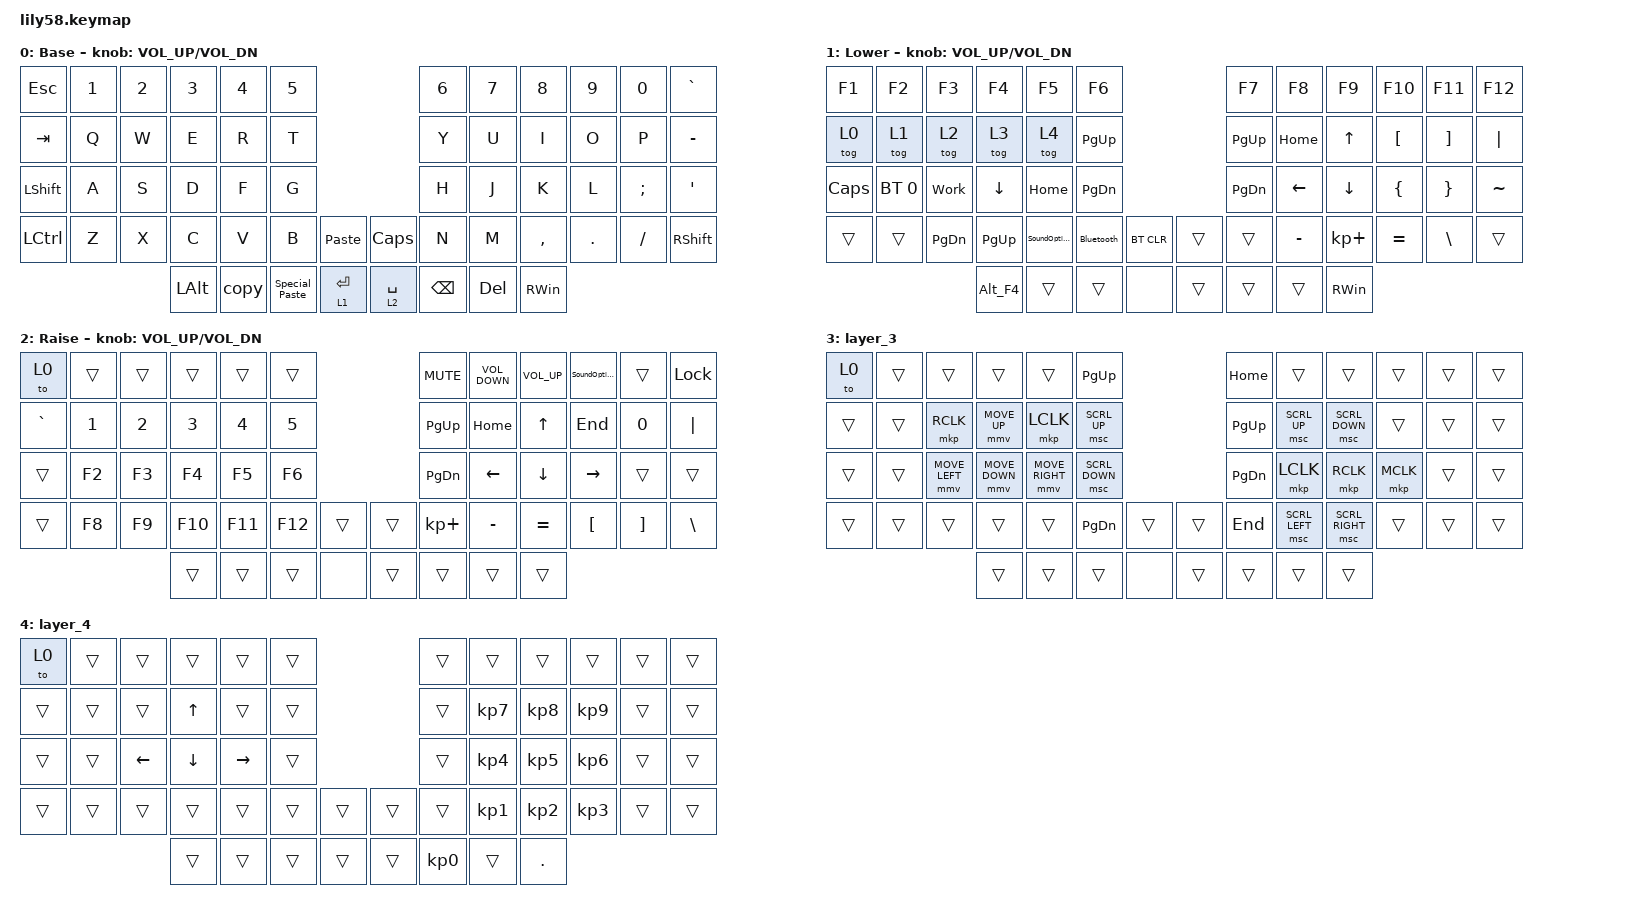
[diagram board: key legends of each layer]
/*
 * Copyright (c) 2020 The ZMK Contributors
 *
 * SPDX-License-Identifier: MIT
 */

#define ZMK_POINTING_DEFAULT_MOVE_VAL 1500  // default: 600
#define ZMK_POINTING_DEFAULT_SCRL_VAL 20    // default: 10

#include <behaviors.dtsi>
#include <dt-bindings/zmk/bt.h>
#include <dt-bindings/zmk/keys.h>
#include <dt-bindings/zmk/pointing.h>

/ {
    macros {
        copy: copy {
            compatible = "zmk,behavior-macro";
            #binding-cells = <0>;
            bindings = <&kp LC(C)>;
            label = "COPY";
        };

        Special_Paste: Special_Paste {
            compatible = "zmk,behavior-macro";
            #binding-cells = <0>;
            bindings = <&kp LS(LC(V))>;
            label = "SPECIAL_PASTE";
        };

        Paste: Paste {
            compatible = "zmk,behavior-macro";
            #binding-cells = <0>;
            bindings = <&kp LC(V)>;
            label = "PASTE";
        };

        Lock: Lock {
            compatible = "zmk,behavior-macro";
            #binding-cells = <0>;
            bindings = <&kp NUMBER_0 &kp NUMBER_5 &kp NUMBER_8 &kp NUMBER_9>;
            label = "LOCK";
        };

        SoundOption: SoundOption {
            compatible = "zmk,behavior-macro";
            #binding-cells = <0>;
            bindings =
                <&macro_press>,
                <&kp LEFT_WIN &kp LCTRL>,
                <&macro_tap>,
                <&kp V>,
                <&macro_release>,
                <&kp LEFT_WIN &kp LCTRL>;

            label = "SOUNDOPTION";
        };

        Work: Work {
            compatible = "zmk,behavior-macro";
            #binding-cells = <0>;
            bindings =
                <&macro_press>,
                <&kp LWIN &kp LCTRL>,
                <&macro_tap>,
                <&kp LEFT>,
                <&macro_release>,
                <&kp LEFT_WIN &kp LCTRL>;

            label = "WORK";
        };

        Home: Home {
            compatible = "zmk,behavior-macro";
            #binding-cells = <0>;
            bindings =
                <&macro_press>,
                <&kp LWIN &kp LCTRL>,
                <&macro_tap>,
                <&kp RIGHT>,
                <&macro_release>,
                <&kp LWIN &kp LCTRL>;

            label = "HOME";
        };

        Alt_F4: Alt_F4 {
            compatible = "zmk,behavior-macro";
            #binding-cells = <0>;
            bindings = <&kp LA(F4)>;
            label = "ALT_F4";
        };

        Bluetooth: Bluetooth {
            compatible = "zmk,behavior-macro";
            #binding-cells = <0>;
            bindings =
                <&macro_press>,
                <&kp LEFT_WIN>,
                <&macro_tap>,
                <&kp K>,
                <&macro_release>,
                <&kp LEFT_WIN>;

            label = "BLUETOOTH";
        };
    };

    behaviors {
        space_2: space_2 {
            compatible = "zmk,behavior-hold-tap";
            label = "SPACE_2";
            bindings = <&mo>, <&kp>;

            #binding-cells = <2>;
            tapping-term-ms = <200>;
            flavor = "hold-preferred";
        };

        enter_1: enter_1 {
            compatible = "zmk,behavior-hold-tap";
            label = "ENTER_1";
            bindings = <&mo>, <&kp>;

            #binding-cells = <2>;
            tapping-term-ms = <200>;
            flavor = "hold-preferred";
        };
    };

    keymap {
        compatible = "zmk,keymap";

        default_layer {
            // ------------------------------------------------------------------------------------------------------------
            // |  ESC  |  1  |  2  |  3   |  4   |  5   |                   |  6   |  7    |  8    |  9   |   0   |   `   |
            // |  TAB  |  Q  |  W  |  E   |  R   |  T   |                   |  Y   |  U    |  I    |  O   |   P   |   -   |
            // |  CTRL |  A  |  S  |  D   |  F   |  G   |                   |  H   |  J    |  K    |  L   |   ;   |   '   |
            // | SHIFT |  Z  |  X  |  C   |  V   |  B   |   "["  |  |  "]"  |  N   |  M    |  ,    |  .   |   /   | SHIFT |
            //                     | ALT  | GUI  | LOWER|  SPACE |  | ENTER | RAISE| BSPC  | GUI   |

            display-name = "Base";
            bindings = <
&kp ESC         &kp N1  &kp N2  &kp N3    &kp N4  &kp N5                                      &kp N6         &kp N7   &kp N8         &kp N9   &kp N0    &kp GRAVE
&kp TAB         &kp Q   &kp W   &kp E     &kp R   &kp T                                       &kp Y          &kp U    &kp I          &kp O    &kp P     &kp MINUS
&kp LEFT_SHIFT  &kp A   &kp S   &kp D     &kp F   &kp G                                       &kp H          &kp J    &kp K          &kp L    &kp SEMI  &kp SQT
&kp LCTRL       &kp Z   &kp X   &kp C     &kp V   &kp B           &Paste         &kp CAPS     &kp N          &kp M    &kp COMMA      &kp DOT  &kp FSLH  &kp RSHFT
                                &kp LALT  &copy   &Special_Paste  &lt 1 ENTER    &lt 2 SPACE  &kp BACKSPACE  &kp DEL  &kp RIGHT_WIN
            >;

            sensor-bindings = <&inc_dec_kp C_VOL_UP C_VOL_DN>;
        };

        lower_layer {
            // ------------------------------------------------------------------------------------------------------------
            // | BTCLR | BT1 | BT2 |  BT3 |  BT4 |  BT5 |                   |      |       |       |      |       |       |
            // |  F1   |  F2 |  F3 |  F4  |  F5  |  F6  |                   |  F7  |  F8   |  F9   |  F10 |  F11  |  F12  |
            // |   `   |  !  |  @  |  #   |  $   |  %   |                   |  ^   |  &    |  *    |  (   |   )   |   ~   |
            // |       |     |     |      |      |      |        |  |       |      |  _    |  +    |  {   |   }   |  "|"  |
            //                     |      |      |      |        |  |       |      |       |       |

            display-name = "Lower";
            bindings = <
&kp F1    &kp F2        &kp F3         &kp F4       &kp F5        &kp F6                               &kp F7         &kp F8     &kp F9         &kp F10           &kp F11            &kp F12
&tog 0    &tog 1        &tog 2         &tog 3       &tog 4        &kp PAGE_UP                          &kp PAGE_UP    &kp HOME   &kp UP         &kp LEFT_BRACKET  &kp RIGHT_BRACKET  &kp PIPE
&kp CAPS  &bt BT_SEL 0  &Work          &kp DOWN     &Home         &kp PAGE_DOWN                        &kp PAGE_DOWN  &kp LEFT   &kp DOWN       &kp LEFT_BRACE    &kp RIGHT_BRACE    &kp TILDE
&trans    &trans        &kp PAGE_DOWN  &kp PAGE_UP  &SoundOption  &Bluetooth     &bt BT_CLR    &trans  &trans         &kp MINUS  &kp KP_PLUS    &kp EQUAL         &kp BACKSLASH      &trans
                                       &Alt_F4      &trans        &trans         &none         &trans  &trans         &trans     &kp RIGHT_WIN
            >;

            sensor-bindings = <&inc_dec_kp C_VOL_UP C_VOL_DN>;
        };

        raise_layer {
            // ------------------------------------------------------------------------------------------------------------
            // |       |     |     |      |      |      |                   |      |       |       |      |       |       |
            // |   `   |  1  |  2  |  3   |  4   |  5   |                   |  6   |   7   |   8   |  9   |   0   |       |
            // |   F1  |  F2 |  F3 |  F4  |  F5  |  F6  |                   |      |   <-  |   v   |  ^   |  ->   |       |
            // |   F7  |  F8 |  F9 |  F10 |  F11 |  F12 |        |  |       |  +   |   -   |   =   |  [   |   ]   |   \   |
            //                     |      |      |      |        |  |       |      |       |       |

            display-name = "Raise";
            bindings = <
&to 0      &trans  &trans  &trans   &trans   &trans                     &kp C_MUTE     &kp C_VOLUME_DOWN  &kp C_VOLUME_UP  &SoundOption  &trans    &Lock
&kp GRAVE  &kp N1  &kp N2  &kp N3   &kp N4   &kp N5                     &kp PG_UP      &kp HOME           &kp UP           &kp END       &kp N0    &kp PIPE
&trans     &kp F2  &kp F3  &kp F4   &kp F5   &kp F6                     &kp PAGE_DOWN  &kp LEFT           &kp DOWN         &kp RIGHT     &trans    &trans
&trans     &kp F8  &kp F9  &kp F10  &kp F11  &kp F12  &trans    &trans  &kp KP_PLUS    &kp MINUS          &kp EQUAL        &kp LBKT      &kp RBKT  &kp BSLH
                           &trans   &trans   &trans   &none     &trans  &trans         &trans             &trans
            >;

            sensor-bindings = <&inc_dec_kp C_VOL_UP C_VOL_DN>;
        };

        layer_3 {
            bindings = <
&to 0   &trans  &trans          &trans          &trans           &kp PAGE_UP                       &kp HOME       &trans          &trans           &trans     &trans  &trans
&trans  &trans  &mkp RCLK       &mmv MOVE_UP    &mkp LCLK        &msc SCRL_UP                      &kp PAGE_UP    &msc SCRL_UP    &msc SCRL_DOWN   &trans     &trans  &trans
&trans  &trans  &mmv MOVE_LEFT  &mmv MOVE_DOWN  &mmv MOVE_RIGHT  &msc SCRL_DOWN                    &kp PAGE_DOWN  &mkp LCLK       &mkp RCLK        &mkp MCLK  &trans  &trans
&trans  &trans  &trans          &trans          &trans           &kp PAGE_DOWN   &trans    &trans  &kp END        &msc SCRL_LEFT  &msc SCRL_RIGHT  &trans     &trans  &trans
                                &trans          &trans           &trans          &none     &trans  &trans         &trans          &trans
            >;
        };

        layer_4 {
            bindings = <
&to 0   &trans  &trans    &trans    &trans     &trans                    &trans           &trans           &trans           &trans           &trans  &trans
&trans  &trans  &trans    &kp UP    &trans     &trans                    &trans           &kp KP_NUMBER_7  &kp KP_NUMBER_8  &kp KP_NUMBER_9  &trans  &trans
&trans  &trans  &kp LEFT  &kp DOWN  &kp RIGHT  &trans                    &trans           &kp KP_NUMBER_4  &kp KP_NUMBER_5  &kp KP_NUMBER_6  &trans  &trans
&trans  &trans  &trans    &trans    &trans     &trans  &trans    &trans  &trans           &kp KP_NUMBER_1  &kp KP_NUMBER_2  &kp KP_NUMBER_3  &trans  &trans
                          &trans    &trans     &trans  &trans    &trans  &kp KP_NUMBER_0  &trans           &kp PERIOD
            >;
        };

        extra_1 {
            status = "reserved";
            sensor-bindings = <&inc_dec_kp 0 0>;
        };

        extra_2 { status = "reserved"; };
    };
};
